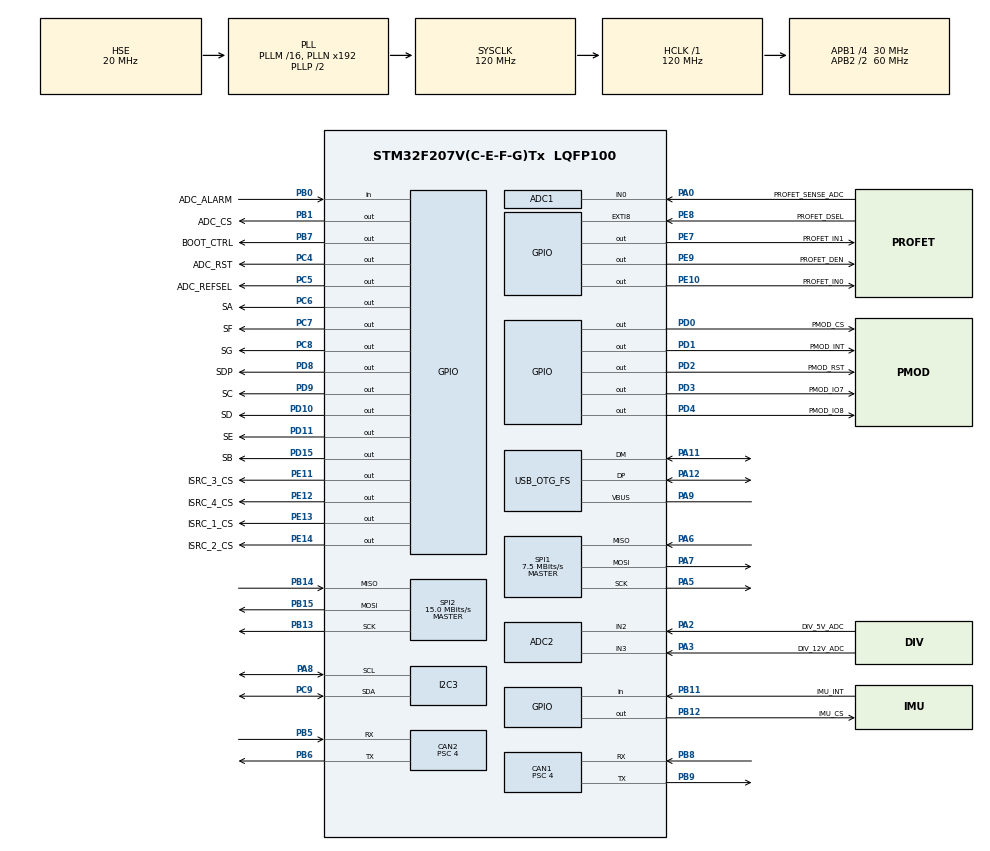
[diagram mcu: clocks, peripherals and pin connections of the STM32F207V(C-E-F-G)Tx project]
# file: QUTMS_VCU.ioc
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ADC1.Channel-0\#ChannelRegularConversion=ADC_CHANNEL_0
ADC1.ClockPrescaler=ADC_CLOCK_SYNC_PCLK_DIV4
ADC1.NbrOfConversionFlag=1
ADC1.Rank-0\#ChannelRegularConversion=1
ADC1.SamplingTime-0\#ChannelRegularConversion=ADC_SAMPLETIME_3CYCLES
ADC1.master=1
ADC2.Channel-0\#ChannelRegularConversion=ADC_CHANNEL_2
ADC2.ClockPrescaler=ADC_CLOCK_SYNC_PCLK_DIV4
ADC2.NbrOfConversionFlag=1
ADC2.Rank-0\#ChannelRegularConversion=1
ADC2.SamplingTime-0\#ChannelRegularConversion=ADC_SAMPLETIME_3CYCLES
CAN1.BS1=CAN_BS1_12TQ
CAN1.BS2=CAN_BS2_2TQ
CAN1.CalculateBaudRate=499999
CAN1.CalculateTimeBit=2000
CAN1.CalculateTimeQuantum=133.33333333333334
CAN1.Prescaler=4
CAN2.BS1=CAN_BS1_12TQ
CAN2.BS2=CAN_BS2_2TQ
CAN2.CalculateBaudRate=499999
CAN2.CalculateTimeBit=2000
CAN2.CalculateTimeQuantum=133.33333333333334
CAN2.Prescaler=4
Dma.Request0=SPI1_TX
Dma.Request1=SPI1_RX
Dma.SPI1_RX.1.Direction=DMA_PERIPH_TO_MEMORY
Dma.SPI1_RX.1.FIFOMode=DMA_FIFOMODE_DISABLE
Dma.SPI1_RX.1.Instance=DMA2_Stream0
Dma.SPI1_RX.1.MemDataAlignment=DMA_MDATAALIGN_BYTE
Dma.SPI1_RX.1.MemInc=DMA_MINC_ENABLE
Dma.SPI1_RX.1.Mode=DMA_NORMAL
Dma.SPI1_RX.1.PeriphDataAlignment=DMA_PDATAALIGN_BYTE
Dma.SPI1_RX.1.PeriphInc=DMA_PINC_DISABLE
Dma.SPI1_RX.1.Priority=DMA_PRIORITY_LOW
Dma.SPI1_TX.0.Direction=DMA_MEMORY_TO_PERIPH
Dma.SPI1_TX.0.FIFOMode=DMA_FIFOMODE_DISABLE
Dma.SPI1_TX.0.Instance=DMA2_Stream3
Dma.SPI1_TX.0.MemDataAlignment=DMA_MDATAALIGN_BYTE
Dma.SPI1_TX.0.MemInc=DMA_MINC_ENABLE
Dma.SPI1_TX.0.Mode=DMA_NORMAL
Dma.SPI1_TX.0.PeriphDataAlignment=DMA_PDATAALIGN_BYTE
Dma.SPI1_TX.0.PeriphInc=DMA_PINC_DISABLE
Dma.SPI1_TX.0.Priority=DMA_PRIORITY_LOW
Mcu.Family=STM32F2
Mcu.Name=STM32F207V(C-E-F-G)Tx
Mcu.Package=LQFP100
NVIC.CAN1_RX0_IRQn=true\:0\:0\:false\:false\:true\:true\:true\:true
NVIC.CAN1_RX1_IRQn=true\:0\:0\:false\:false\:true\:true\:true\:true
NVIC.CAN1_TX_IRQn=true\:1\:0\:true\:false\:true\:true\:true\:true
NVIC.CAN2_RX0_IRQn=true\:0\:0\:false\:false\:true\:true\:true\:true
NVIC.CAN2_RX1_IRQn=true\:0\:0\:false\:false\:true\:true\:true\:true
NVIC.CAN2_TX_IRQn=true\:1\:0\:true\:false\:true\:true\:true\:true
NVIC.DMA2_Stream0_IRQn=true\:0\:0\:false\:false\:true\:false\:true\:true
NVIC.DMA2_Stream3_IRQn=true\:0\:0\:false\:false\:true\:false\:true\:true
NVIC.OTG_FS_IRQn=true\:0\:0\:false\:false\:true\:false\:true\:true
NVIC.PriorityGroup=NVIC_PRIORITYGROUP_4
NVIC.SPI1_IRQn=true\:0\:0\:false\:false\:true\:true\:true\:true
NVIC.TIM2_IRQn=true\:0\:0\:false\:false\:true\:true\:true\:true
PA0-WKUP.GPIO_Label=PROFET_SENSE_ADC
PA0-WKUP.Signal=ADCx_IN0
PA11.Mode=Device_Only
PA11.Signal=USB_OTG_FS_DM
PA12.Mode=Device_Only
PA12.Signal=USB_OTG_FS_DP
PA13.Mode=JTAG_5_pins
PA13.Signal=SYS_JTMS-SWDIO
PA14.Mode=JTAG_5_pins
PA14.Signal=SYS_JTCK-SWCLK
PA15.Mode=JTAG_5_pins
PA15.Signal=SYS_JTDI
PA2.GPIO_Label=DIV_5V_ADC
PA2.Signal=ADCx_IN2
PA3.GPIO_Label=DIV_12V_ADC
PA3.Signal=ADCx_IN3
PA5.GPIO_PuPd=GPIO_NOPULL
PA5.Mode=Full_Duplex_Master
PA5.Signal=SPI1_SCK
PA6.Mode=Full_Duplex_Master
PA6.Signal=SPI1_MISO
PA7.Mode=Full_Duplex_Master
PA7.Signal=SPI1_MOSI
PA8.Mode=I2C
PA8.Signal=I2C3_SCL
PA9.Mode=Activate_VBUS
PA9.Signal=USB_OTG_FS_VBUS
PB0.GPIO_Label=ADC_ALARM
PB0.Signal=GPIO_Input
PB1.GPIO_Label=ADC_CS
PB1.GPIO_PuPd=GPIO_PULLUP
PB1.Signal=GPIO_Output
PB11.GPIO_Label=IMU_INT
PB11.Signal=GPIO_Input
PB12.GPIO_Label=IMU_CS
PB12.GPIO_PuPd=GPIO_PULLUP
PB12.Signal=GPIO_Output
PB13.Mode=Full_Duplex_Master
PB13.Signal=SPI2_SCK
PB14.Mode=Full_Duplex_Master
PB14.Signal=SPI2_MISO
PB15.Mode=Full_Duplex_Master
PB15.Signal=SPI2_MOSI
PB3.Mode=JTAG_5_pins
PB3.Signal=SYS_JTDO-SWO
PB4.Mode=JTAG_5_pins
PB4.Signal=SYS_JTRST
PB5.Mode=CAN_Activate
PB5.Signal=CAN2_RX
PB6.Mode=CAN_Activate
PB6.Signal=CAN2_TX
PB7.GPIO_Label=BOOT_CTRL
PB7.GPIO_PuPd=GPIO_PULLDOWN
PB7.Signal=GPIO_Output
PB8.Mode=CAN_Activate
PB8.Signal=CAN1_RX
PB9.Mode=CAN_Activate
PB9.Signal=CAN1_TX
PC4.GPIO_Label=ADC_RST
PC4.Signal=GPIO_Output
PC5.GPIO_Label=ADC_REFSEL
PC5.Signal=GPIO_Output
PC6.GPIO_Label=SA
PC6.Signal=GPIO_Output
PC7.GPIO_Label=SF
PC7.Signal=GPIO_Output
PC8.GPIO_Label=SG
PC8.Signal=GPIO_Output
PC9.Mode=I2C
PC9.Signal=I2C3_SDA
PD0.GPIO_Label=PMOD_CS
PD0.GPIO_PuPd=GPIO_NOPULL
PD0.Signal=GPIO_Output
PD1.GPIO_Label=PMOD_INT
PD1.Signal=GPIO_Output
PD10.GPIO_Label=SD
PD10.Signal=GPIO_Output
PD11.GPIO_Label=SE
PD11.Signal=GPIO_Output
PD15.GPIO_Label=SB
PD15.Signal=GPIO_Output
PD2.GPIO_Label=PMOD_RST
PD2.Signal=GPIO_Output
PD3.GPIO_Label=PMOD_IO7
PD3.Signal=GPIO_Output
PD4.GPIO_Label=PMOD_IO8
PD4.Signal=GPIO_Output
PD8.GPIO_Label=SDP
PD8.Signal=GPIO_Output
PD9.GPIO_Label=SC
PD9.Signal=GPIO_Output
PE10.GPIO_Label=PROFET_IN0
PE10.Signal=GPIO_Output
PE11.GPIO_Label=ISRC_3_CS
PE11.GPIO_PuPd=GPIO_PULLUP
PE11.Signal=GPIO_Output
PE12.GPIO_Label=ISRC_4_CS
PE12.GPIO_PuPd=GPIO_PULLUP
PE12.Signal=GPIO_Output
PE13.GPIO_Label=ISRC_1_CS
PE13.GPIO_PuPd=GPIO_PULLUP
PE13.Signal=GPIO_Output
PE14.GPIO_Label=ISRC_2_CS
PE14.GPIO_PuPd=GPIO_PULLUP
PE14.Signal=GPIO_Output
PE7.GPIO_Label=PROFET_IN1
PE7.Signal=GPIO_Output
PE8.GPIO_Label=PROFET_DSEL
PE8.Signal=GPXTI8
PE9.GPIO_Label=PROFET_DEN
PE9.Signal=GPIO_Output
PH0-OSC_IN.Mode=HSE-External-Oscillator
PH0-OSC_IN.Signal=RCC_OSC_IN
PH1-OSC_OUT.Mode=HSE-External-Oscillator
PH1-OSC_OUT.Signal=RCC_OSC_OUT
ProjectManager.HeapSize=0x1000
ProjectManager.StackSize=0x200
ProjectManager.TargetToolchain=STM32CubeIDE
RCC.48MHZClocksFreq_Value=48000000
RCC.AHBFreq_Value=120000000
RCC.APB1CLKDivider=RCC_HCLK_DIV4
RCC.APB1Freq_Value=30000000
RCC.APB1TimFreq_Value=60000000
RCC.APB2CLKDivider=RCC_HCLK_DIV2
RCC.APB2Freq_Value=60000000
RCC.APB2TimFreq_Value=120000000
RCC.CortexFreq_Value=120000000
RCC.HCLKFreq_Value=120000000
RCC.HSE_VALUE=20000000
RCC.HSI_VALUE=16000000
RCC.LSE_VALUE=32768
RCC.PLLQ=5
RCC.PLLSourceVirtual=RCC_PLLSOURCE_HSE
RCC.SYSCLKFreq_VALUE=120000000
RCC.SYSCLKSource=RCC_SYSCLKSOURCE_PLLCLK
RCC.VCOOutputFreq_Value=240000000
SH.ADCx_IN0.0=ADC1_IN0,IN0
SH.ADCx_IN2.0=ADC2_IN2,IN2
SH.ADCx_IN3.0=ADC2_IN3,IN3
SPI1.BaudRatePrescaler=SPI_BAUDRATEPRESCALER_8
SPI1.CLKPhase=SPI_PHASE_2EDGE
SPI1.CLKPolarity=SPI_POLARITY_LOW
SPI1.CalculateBaudRate=7.5 MBits/s
SPI1.Direction=SPI_DIRECTION_2LINES
SPI1.Mode=SPI_MODE_MASTER
SPI1.VirtualType=VM_MASTER
SPI2.BaudRatePrescaler=SPI_BAUDRATEPRESCALER_2
SPI2.CalculateBaudRate=15.0 MBits/s
SPI2.Direction=SPI_DIRECTION_2LINES
SPI2.Mode=SPI_MODE_MASTER
SPI2.VirtualType=VM_MASTER
TIM2.AutoReloadPreload=TIM_AUTORELOAD_PRELOAD_ENABLE
TIM2.Period=25
TIM2.Prescaler=59
USB_DEVICE.CLASS_NAME_FS=CDC
USB_DEVICE.VirtualMode-CDC_FS=Cdc
USB_DEVICE.VirtualModeFS=Cdc_FS
USB_OTG_FS.VirtualMode=Device_Only
VP_TIM2_VS_ClockSourceINT.Mode=Internal
VP_USB_DEVICE_VS_USB_DEVICE_CDC_FS.Mode=CDC_FS
board=custom

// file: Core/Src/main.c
/* USER CODE BEGIN Header */
/**
 ******************************************************************************
 * @file           : main.c
 * @brief          : Main program body
 ******************************************************************************
 * @attention
 *
 * <h2><center>&copy; Copyright (c) 2021 STMicroelectronics.
 * All rights reserved.</center></h2>
 *
 * This software component is licensed by ST under BSD 3-Clause license,
 * the "License"; You may not use this file except in compliance with the
 * License. You may obtain a copy of the License at:
 *                        opensource.org/licenses/BSD-3-Clause
 *
 ******************************************************************************
 */
/* USER CODE END Header */
#include "main.h"
#include "adc.h"
#include "can.h"
#include "dma.h"
#include "i2c.h"
#include "spi.h"
#include "tim.h"
#include "usb_device.h"
#include "gpio.h"

/* USER CODE BEGIN Includes */
#include <stdio.h>
#include <string.h>
#include <math.h>
#include <ads8668.h>

#include "12vSW.h"

#include <qutms_can.h>
#include <CAN_VCU.h>
#include <CAN_BMU.h>
#include <CAN_SHDN.h>
#include <window_filtering.h>

#include "imu.h"
#include "MPXV7002.h"
#include "VCU_shutdown.h"

#include <FSM.h>
#include "heartbeat.h"
#include "states.h"
#include "debugCAN.h"
#include "can_dict.h"

#include "p_imu.h"
#include "p_adc.h"
#include "p_watchdog.h"

#include "s_pedalBox.h"
#include "s_suspensionTravel.h"
#include "s_shutdown.h"
#include "s_steeringAngle.h"
#include "rtd.h"

#include "7Seg.h"
#include "EBS_ADC.h"
#include "max5548.h"

#include "dvl_emergency.h"

//#include "usbd_cdc_if.h"
#include <unistd.h>
#include "s_ctrl_steering.h"
/* USER CODE END Includes */

/* USER CODE BEGIN PV */
fsm_t fsm;
uint8_t VCU_ID = VCU_CURRENT_ID;
/* USER CODE END PV */

void SystemClock_Config(void);
/* USER CODE BEGIN PFP */
void fsm_log_uart(const char *data, size_t len);
void fsm_state_enter(fsm_t *fsm_def);
void fsm_state_exit(fsm_t *fsm_def);
/* USER CODE END PFP */

/* USER CODE BEGIN 0 */

int _write(int file, char *data, int len) {
	if ((file != STDOUT_FILENO) && (file != STDERR_FILENO)) {
		return -1;
	}

	//CDC_Transmit_FS((uint8_t*) data, len);

	/*
	 // log whatever we transmit to serial
	 serial_log_t log_wrapper;
	 memcpy(log_wrapper.data, data, len);
	 log_wrapper.len = len;
	 queue_add(&queue_serial_log, &log_wrapper);
	 */
	return len;
}
/*
 __weak void HAL_WWDG_EarlyWakeupCallback(WWDG_HandleTypeDef *hwwdg) {
 // Prevent unused argument(s) compilation warning
 UNUSED(hwwdg);

 /* NOTE: This function should not be modified, when the callback is needed,
 the HAL_WWDG_EarlyWakeupCallback could be implemented in the user file

 set_7seg(VCU_CURRENT_ID, true);
 }
 */
/* USER CODE END 0 */

int main(void)
{

  /* MCU Configuration--------------------------------------------------------*/

  /* Reset of all peripherals, Initializes the Flash interface and the Systick. */
  HAL_Init();

  /* Configure the system clock */
  SystemClock_Config();

  /* Initialize all configured peripherals */
  MX_GPIO_Init();
  MX_DMA_Init();
  MX_CAN1_Init();
  MX_ADC1_Init();
  MX_ADC2_Init();
  MX_CAN2_Init();
  MX_I2C3_Init();
  MX_SPI1_Init();
  MX_SPI2_Init();
  MX_USB_DEVICE_Init();
  MX_TIM2_Init();
  /* USER CODE BEGIN 2 */

	// init fsm
	fsm.log = &fsm_log_uart;
	fsm_init(&fsm, &state_start, &fsm_state_enter, &fsm_state_exit);

  /* USER CODE END 2 */

  /* Infinite loop */
  /* USER CODE BEGIN WHILE */

	// display current VCU_ID
	set_7seg(VCU_CURRENT_ID, false);
	setup_CAN();
	while (1) {
    /* USER CODE END WHILE */

    /* USER CODE BEGIN 3 */
		// update key timers
		timer_update(&timer_watchdog, NULL);
		timer_update(&timer_adc, NULL);
		timer_update(&timer_heartbeat, NULL);
		timer_update(&timer_OD, NULL);
		timer_update(&timer_IMU, NULL);

#if VCU_CURRENT_ID == VCU_ID_SHDN
		timer_update(&timer_shdn_status, NULL);
#endif

#if VCU_CURRENT_ID == VCU_ID_CTRL
		timer_update(&timer_pedal_adc, NULL);
		timer_update(&timer_rtd_siren, NULL);
		timer_update(&timer_horn, NULL);
		timer_update(&timer_ctrl_steering, NULL);

#if DRIVERLESS_CTRL == 1
		timer_update(&timer_dvl_emergency, NULL);
#endif

#endif

#if VCU_CURRENT_ID == VCU_ID_DASH
		timer_update(&timer_steering, NULL);
#endif

#if (VCU_CURRENT_ID == VCU_ID_DASH) || (VCU_CURRENT_ID == VCU_ID_SHDN)
		timer_update(&timer_suspension_adc, NULL);
#endif

#if VCU_CURRENT_ID == VCU_ID_EBS_ADC
		timer_update(&timer_ebs_adc_check, NULL);
#endif

		// continue fsm
		fsm_iterate(&fsm);
	}
  /* USER CODE END 3 */
}

void SystemClock_Config(void)
{
  RCC_OscInitTypeDef RCC_OscInitStruct = {0};
  RCC_ClkInitTypeDef RCC_ClkInitStruct = {0};

  /** Initializes the RCC Oscillators according to the specified parameters
  * in the RCC_OscInitTypeDef structure.
  */
  RCC_OscInitStruct.OscillatorType = RCC_OSCILLATORTYPE_HSE;
  RCC_OscInitStruct.HSEState = RCC_HSE_ON;
  RCC_OscInitStruct.PLL.PLLState = RCC_PLL_ON;
  RCC_OscInitStruct.PLL.PLLSource = RCC_PLLSOURCE_HSE;
  RCC_OscInitStruct.PLL.PLLM = 16;
  RCC_OscInitStruct.PLL.PLLN = 192;
  RCC_OscInitStruct.PLL.PLLP = RCC_PLLP_DIV2;
  RCC_OscInitStruct.PLL.PLLQ = 5;
  if (HAL_RCC_OscConfig(&RCC_OscInitStruct) != HAL_OK)
  {
    Error_Handler();
  }

  /** Initializes the CPU, AHB and APB buses clocks
  */
  RCC_ClkInitStruct.ClockType = RCC_CLOCKTYPE_HCLK|RCC_CLOCKTYPE_SYSCLK
                              |RCC_CLOCKTYPE_PCLK1|RCC_CLOCKTYPE_PCLK2;
  RCC_ClkInitStruct.SYSCLKSource = RCC_SYSCLKSOURCE_PLLCLK;
  RCC_ClkInitStruct.AHBCLKDivider = RCC_SYSCLK_DIV1;
  RCC_ClkInitStruct.APB1CLKDivider = RCC_HCLK_DIV4;
  RCC_ClkInitStruct.APB2CLKDivider = RCC_HCLK_DIV2;

  if (HAL_RCC_ClockConfig(&RCC_ClkInitStruct, FLASH_LATENCY_3) != HAL_OK)
  {
    Error_Handler();
  }
}

/* USER CODE BEGIN 4 */
void fsm_state_enter(fsm_t *fsm_def) {
	VCU_heartbeatState.stateID = fsm_def->currentState->stateID;
	debugCAN_enterState(fsm_def->currentState->stateID);
	heartbeat_timer_cb(NULL);
}

void fsm_state_exit(fsm_t *fsm_def) {
	debugCAN_exitState(fsm_def->currentState->stateID);
	heartbeat_timer_cb(NULL);
}

void fsm_log_uart(const char *data, size_t len) {
	//CDC_Transmit_FS(data, len);
}
/* USER CODE END 4 */

void Error_Handler(void)
{
  /* USER CODE BEGIN Error_Handler_Debug */
	/* User can add his own implementation to report the HAL error return state */
	//__disable_irq();
	while (1) {
	}
  /* USER CODE END Error_Handler_Debug */
}
